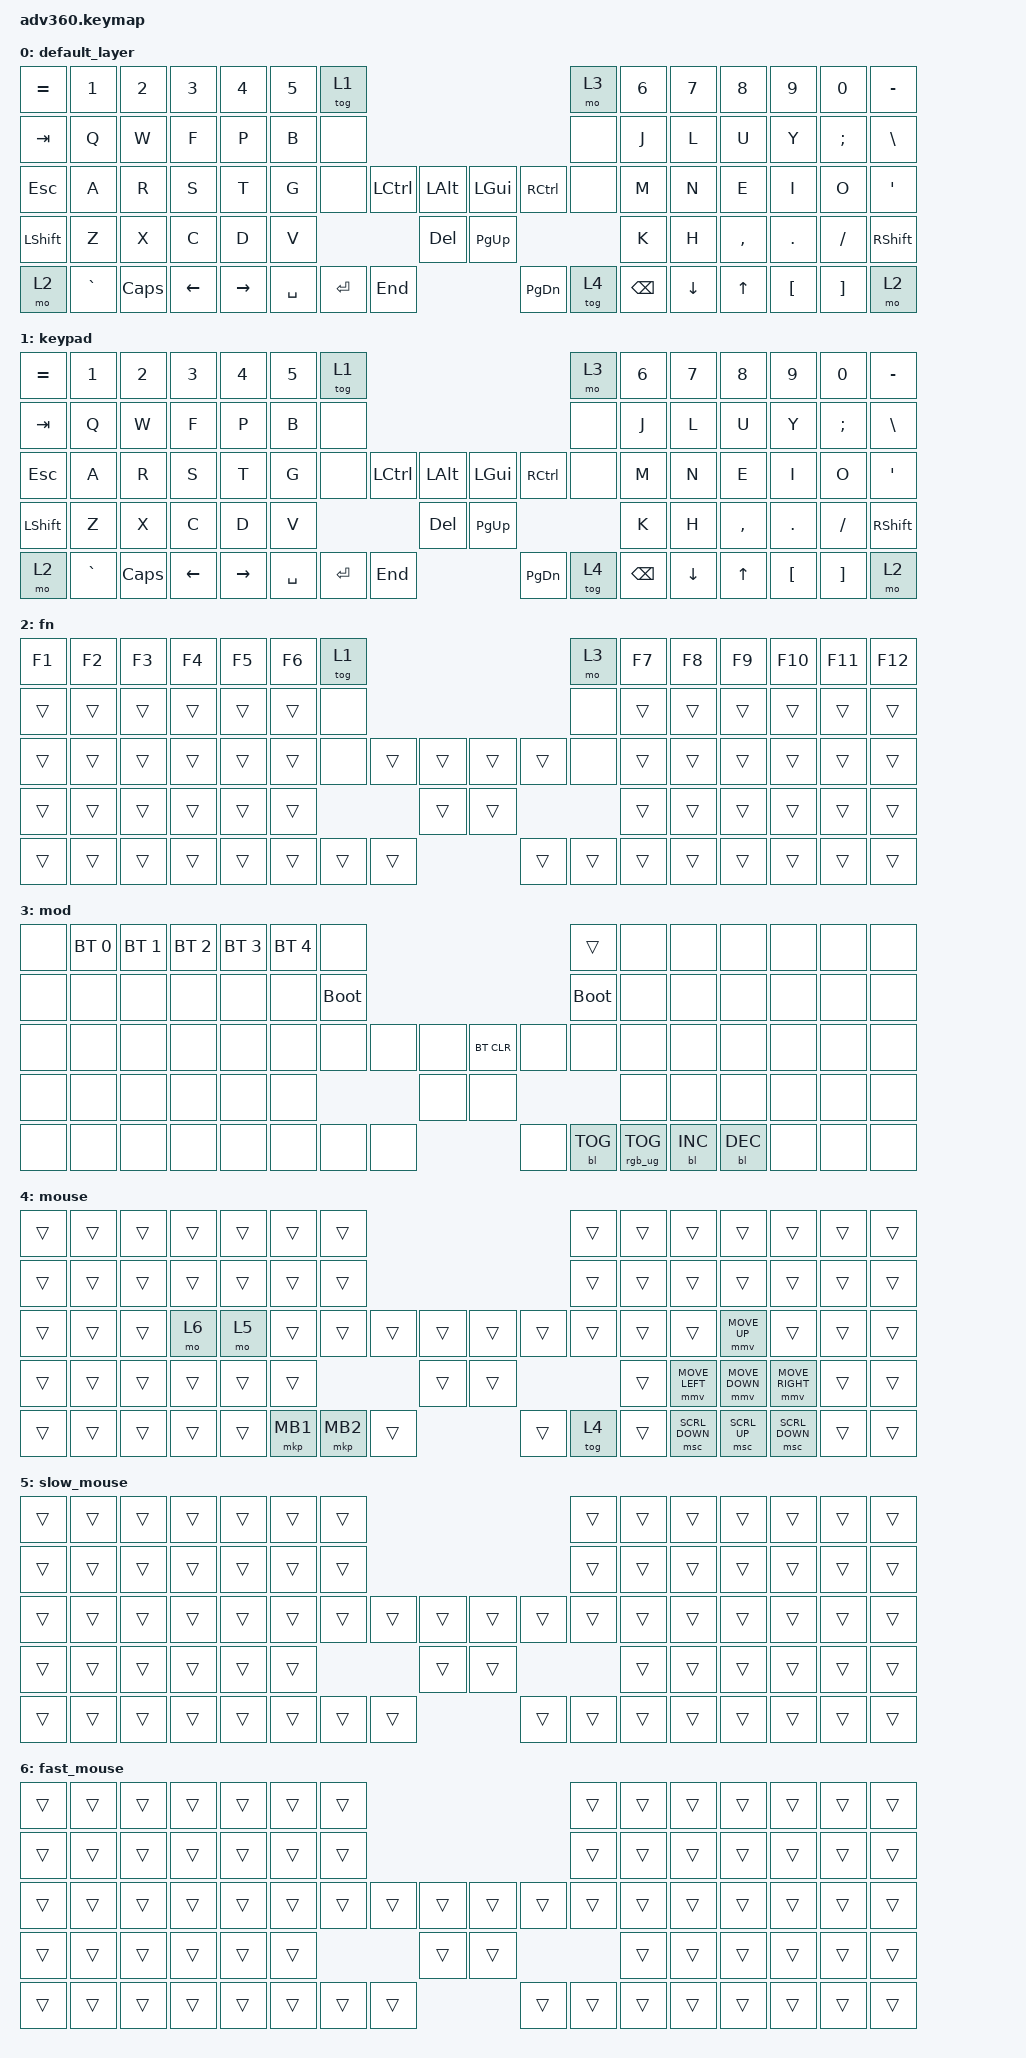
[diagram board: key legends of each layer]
#include <behaviors.dtsi>
#include <dt-bindings/zmk/keys.h>
#include <dt-bindings/zmk/bt.h>
#include <dt-bindings/zmk/rgb.h>
#include <dt-bindings/zmk/backlight.h>
#include <input/processors.dtsi>
#include <dt-bindings/zmk/pointing.h>
#include <zephyr/dt-bindings/input/input-event-codes.h>
#define ZMK_POINTING_DEFAULT_MOVE_VAL 600  // default: 600
#define ZMK_POINTING_DEFAULT_SCRL_VAL 10   // default: 10


/ {
    keymap {
        compatible = "zmk,keymap";

        default_layer {
            bindings = <
                &kp EQUAL &kp N1    &kp N2   &kp N3   &kp N4     &kp N5 &tog 1                                                                &mo 3 &kp N6 &kp N7   &kp N8    &kp N9   &kp N0   &kp MINUS
                &kp TAB   &kp Q     &kp W    &kp F    &kp P      &kp B  &none                                                                 &none &kp J  &kp L    &kp U     &kp Y    &kp SEMI &kp BSLH
                &kp ESC   &kp A     &kp R    &kp S    &kp T      &kp G  &none           &kp LCTRL &kp LALT   &kp LGUI  &kp RCTRL              &none &kp M  &kp N    &kp E     &kp I    &kp O    &kp SQT
                &kp LSHFT &kp Z     &kp X    &kp C    &kp D      &kp V                            &kp DELETE &kp PG_UP                              &kp K  &kp H    &kp COMMA &kp DOT  &kp FSLH &kp RSHFT
                &mo 2     &kp GRAVE &kp CAPS &kp LEFT &kp RIGHT               &kp SPACE &kp ENTER &kp END    &kp PG_DN &tog 4 &kp BACKSPACE                &kp DOWN &kp UP  &kp LBKT &kp RBKT &mo 2
            >;
        };
        keypad {
            bindings = <
                &kp EQUAL &kp N1    &kp N2   &kp N3   &kp N4     &kp N5 &tog 1                                                                &mo 3 &kp N6 &kp N7   &kp N8    &kp N9   &kp N0   &kp MINUS
                &kp TAB   &kp Q     &kp W    &kp F    &kp P      &kp B  &none                                                                 &none &kp J  &kp L    &kp U     &kp Y    &kp SEMI &kp BSLH
                &kp ESC   &kp A     &kp R    &kp S    &kp T      &kp G  &none           &kp LCTRL &kp LALT   &kp LGUI  &kp RCTRL              &none &kp M  &kp N    &kp E     &kp I    &kp O    &kp SQT
                &kp LSHFT &kp Z     &kp X    &kp C    &kp D      &kp V                            &kp DELETE &kp PG_UP                              &kp K  &kp H    &kp COMMA &kp DOT  &kp FSLH &kp RSHFT
                &mo 2     &kp GRAVE &kp CAPS &kp LEFT &kp RIGHT               &kp SPACE &kp ENTER &kp END    &kp PG_DN &tog 4 &kp BACKSPACE                &kp DOWN &kp UP    &kp LBKT &kp RBKT &mo 2
            >;
        }; 
        fn {
            bindings = <
                &kp F1 &kp F2 &kp F3 &kp F4 &kp F5 &kp F6 &tog 1                                           &mo 3 &kp F7 &kp F8 &kp F9 &kp F10 &kp F11 &kp F12
                &trans &trans &trans &trans &trans &trans  &none                                           &none &trans &trans &trans &trans  &trans  &trans
                &trans &trans &trans &trans &trans &trans  &none        &trans &trans &trans &trans        &none &trans &trans &trans &trans  &trans  &trans
                &trans &trans &trans &trans &trans &trans                      &trans &trans                     &trans &trans &trans &trans  &trans  &trans
                &trans &trans &trans &trans &trans               &trans &trans &trans &trans &trans &trans              &trans &trans &trans  &trans  &trans
            >;
        };
        mod {
            bindings = <
                &none &bt BT_SEL 0 &bt BT_SEL 1 &bt BT_SEL 2 &bt BT_SEL 3 &bt BT_SEL 4 &none                                                               &trans      &none &none      &none      &none &none &none
                &none &none        &none        &none        &none        &none        &bootloader                                                         &bootloader &none &none      &none      &none &none &none
                &none &none        &none        &none        &none        &none        &none             &none &none &bt BT_CLR &none                      &none       &none &none      &none      &none &none &none
                &none &none        &none        &none        &none        &none                                &none &none                                             &none &none      &none      &none &none &none
                &none &none        &none        &none        &none                                 &none &none &none &none      &bl BL_TOG &rgb_ug RGB_TOG                   &bl BL_INC &bl BL_DEC &none &none &none
            >;
        };
        mouse {
            bindings = <
                &trans &trans &trans &trans &trans &trans &trans                                               &trans &trans &trans         &trans         &trans          &trans &trans
                &trans &trans &trans &trans &trans &trans &trans                                               &trans &trans &trans         &trans         &trans          &trans &trans
                &trans &trans &trans &mo 6  &mo 5  &trans &trans   &trans &trans   &trans &trans               &trans &trans &trans         &mmv MOVE_UP   &trans          &trans &trans
                &trans &trans &trans &trans &trans &trans                 &trans   &trans                             &trans &mmv MOVE_LEFT &mmv MOVE_DOWN &mmv MOVE_RIGHT &trans &trans
                &trans &trans &trans &trans &trans               &mkp MB1 &mkp MB2 &trans &trans &tog 4 &trans               &msc SCRL_DOWN &msc SCRL_UP   &msc SCRL_DOWN  &trans &trans
            >; 
        };
        slow_mouse {
            bindings = <
                &trans &trans &trans &trans &trans &trans  &trans                                          &trans &trans &trans &trans &trans  &trans  &trans
                &trans &trans &trans &trans &trans &trans  &trans                                          &trans &trans &trans &trans &trans  &trans  &trans
                &trans &trans &trans &trans &trans &trans  &trans       &trans &trans &trans &trans        &trans &trans &trans &trans &trans  &trans  &trans
                &trans &trans &trans &trans &trans &trans                      &trans &trans                      &trans &trans &trans &trans  &trans  &trans
                &trans &trans &trans &trans &trans               &trans &trans &trans &trans &trans &trans               &trans &trans &trans  &trans  &trans
            >;
        };
       fast_mouse {
            bindings = <
                &trans &trans &trans &trans &trans &trans  &trans                                          &trans &trans &trans &trans &trans  &trans  &trans
                &trans &trans &trans &trans &trans &trans  &trans                                          &trans &trans &trans &trans &trans  &trans  &trans
                &trans &trans &trans &trans &trans &trans  &trans        &trans &trans &trans &trans       &trans &trans &trans &trans &trans  &trans  &trans
                &trans &trans &trans &trans &trans &trans                      &trans &trans                      &trans &trans &trans &trans  &trans  &trans
                &trans &trans &trans &trans &trans               &trans &trans &trans &trans &trans &trans               &trans &trans &trans  &trans  &trans
            >; 
        };
    };
};


&mmv {
    time-to-max-speed-ms = <0>;
    acceleration-exponent = <0>;
    trigger-period-ms = <7>;
};

&mmv_input_listener {
  input-processors = <&zip_xy_scaler 1 1>;
  slow {
    layers = <5>;
    input-processors = <&zip_xy_scaler 1 3>; 
  };
  fast {
    layers = <6>;
  input-processors = <&zip_xy_scaler 7 2>; 
  };
};
/*
&msc {
    x-input-code = <INPUT_REL_HWHEEL>;
    y-input-code = <INPUT_REL_WHEEL>;
    time-to-max-speed-ms = <0>;
    acceleration-exponent = <0>;
};


/ { 
  input_processors {
    zip_wheel_scaler: zip_wheel_scaler {
      compatible = "zmk,input-processor-scaler";
        #input-processor-cells = <2>;
        type = <INPUT_EV_REL>;
        codes = <INPUT_REL_WHEEL>;
        track-remainders;
    };
  };
};

&msc_input_listener {
  fast {
    layers = <6>;
    input-processors = <&zip_wheel_scaler 2 1>;
  };
};
*/


